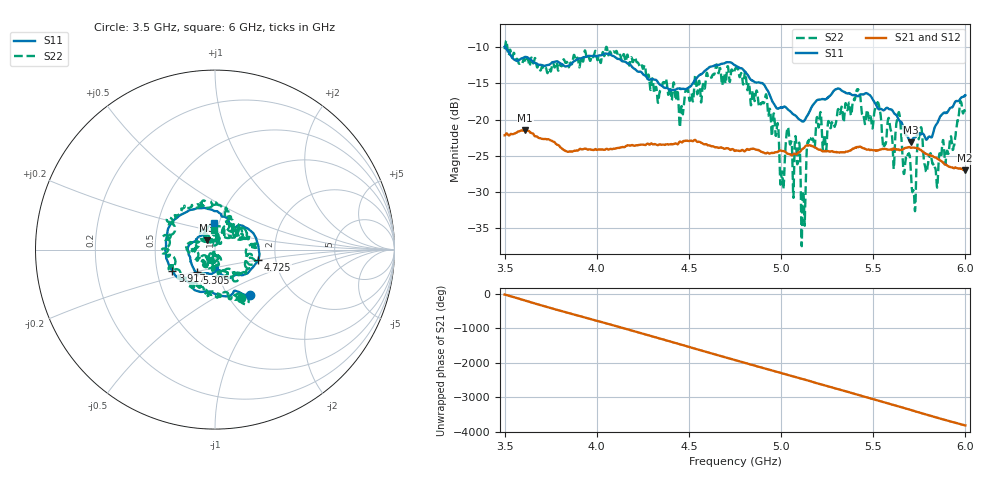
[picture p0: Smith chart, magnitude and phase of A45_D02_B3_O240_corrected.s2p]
! Created with skrf 1.9.0 (http://scikit-rf.org).
# Hz S RI R 50.0
!freq ReS11 ImS11 ReS21 ImS21 ReS12 ImS12 ReS22 ImS22
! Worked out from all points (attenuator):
!   1601 points, 3.5 GHz to 6 GHz, reference 50 ohm
!   highest |S21| = -21.48 dB at 3.611 GHz (marker M1); lowest = -27.0 dB at 5.998 GHz (marker M2)
!   lowest |S11| = -23.2 dB at 5.703 GHz (marker M3), VSWR 1.15, Z = 45.4 + j4.74 ohm
!   |S11| at or under -10 dB: 3.502 GHz to end of sweep
!   |S22| runs from -37.5 to -9.1 dB; largest |S21 - S12| = 0.00095
!   S11 on the Smith chart (normalised r, x): 3.5 GHz: 1.25, -0.71; 3.917 GHz: 0.60, -0.15; 4.725 GHz: 1.62, -0.19; 5.305 GHz: 0.79, -0.21; 6 GHz: 0.95, +0.28
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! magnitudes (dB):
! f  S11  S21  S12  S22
! 3.5 GHz  -9.9  -22.2  -22.2  -10.3
! 3.611 GHz  -11.3  -21.5  -21.5  -11.9
! 3.917 GHz  -11.5  -24.1  -24.1  -11.4
! 4.334 GHz  -15.0  -23.5  -23.4  -17.5
! 4.725 GHz  -12.1  -24.2  -24.1  -14.3
! 4.75 GHz  -12.5  -24.3  -24.3  -13.0
! 4.927 GHz  -15.9  -24.6  -24.6  -18.4
! 5.005 GHz  -18.3  -24.3  -24.3  -27.2
! 5.036 GHz  -18.6  -24.7  -24.7  -21.0
! 5.089 GHz  -19.8  -24.7  -24.7  -26.1
! 5.12 GHz  -20.3  -24.0  -23.9  -30.0
! 5.167 GHz  -18.2  -23.7  -23.6  -22.8
! 5.305 GHz  -15.7  -24.5  -24.5  -19.1
! 5.417 GHz  -16.8  -23.8  -23.8  -16.0
! 5.584 GHz  -18.5  -24.2  -24.1  -19.8
! 5.638 GHz  -20.0  -24.1  -24.1  -19.0
! 5.703 GHz  -23.2  -23.9  -23.9  -26.8
! 5.722 GHz  -22.5  -23.9  -23.8  -30.6
! 5.755 GHz  -22.0  -24.2  -24.1  -21.6
! 5.842 GHz  -20.7  -25.3  -25.3  -28.1
! 5.998 GHz  -16.7  -27.0  -26.9  -19.0
! 6 GHz  -16.6  -27.0  -26.9  -19.3
